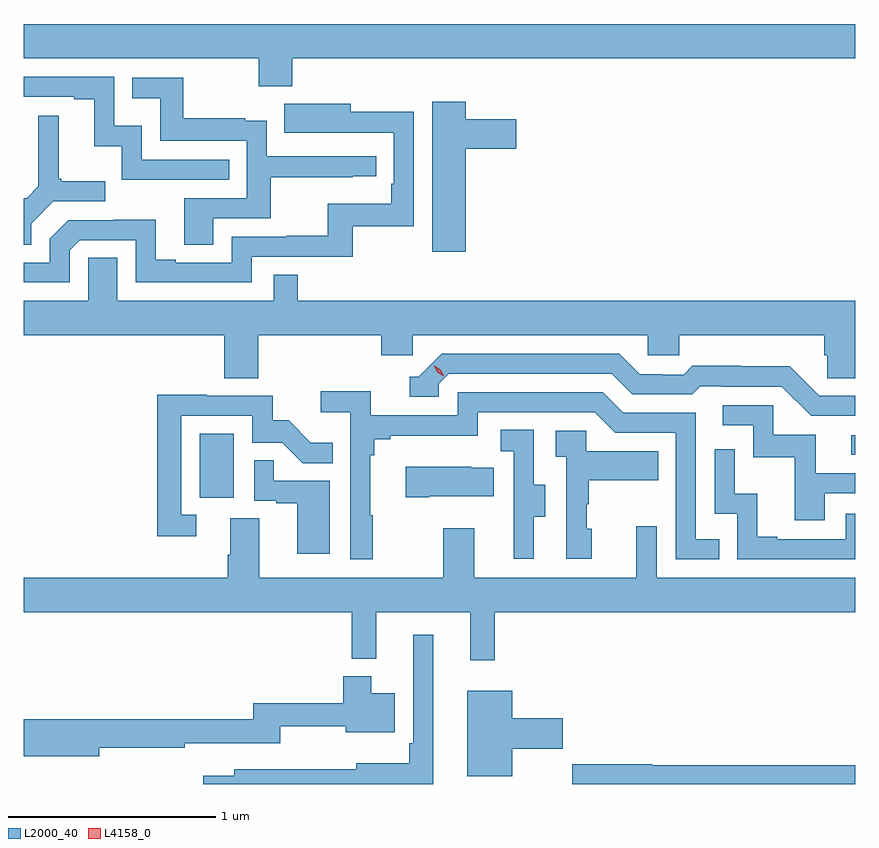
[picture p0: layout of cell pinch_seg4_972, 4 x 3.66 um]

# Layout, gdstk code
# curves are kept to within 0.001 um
import gdstk
lib = gdstk.Library(unit=1e-6, precision=1e-09)
def R(c, l, rs):  # rectangles x0, y0, x1, y1
    for r in rs: c.add(gdstk.rectangle(r[:2], r[2:], *l))
def P(c, l, *ps):  # polygons
    for p in ps: c.add(gdstk.Polygon(p, *l))
L2000_40 = (2000, 40)
L4158_0 = (4158, 0)

pinch_seg4_972 = lib.new_cell('pinch_seg4_972')
R(pinch_seg4_972, L2000_40, [(865.286,777.39,865.45,777.697), (868.419,777.597,868.439,777.69)])
P(pinch_seg4_972, L2000_40, [(865.73,779.504),(868.439,779.504),(868.439,779.668),(864.439,779.668),(864.439,779.504),(865.57,779.504),(865.57,779.369),(865.73,779.369)],
  [(865.427,779.016),(865.008,779.016),(865.008,779.179),(864.876,779.179),(864.876,779.415),(864.439,779.415),(864.439,779.319),(864.683,779.319),(864.683,779.307),(864.779,779.307),(864.779,779.081),(864.912,779.081),(864.912,778.92),(865.427,778.92)],
  [(865.351,778.734),(865.628,778.734),(865.628,778.93),(866.021,778.93),(866.021,778.935),(866.134,778.935),(866.134,779.031),(865.608,779.031),(865.608,779.203),(865.505,779.203),(865.505,779.215),(865.207,779.215),(865.207,779.409),(864.961,779.409),(864.961,779.312),(865.096,779.312),(865.096,779.106),(865.512,779.106),(865.512,778.83),(865.211,778.83),(865.211,778.606),(865.351,778.606)],
  [(866.566,779.069),(866.809,779.069),(866.809,779.211),(866.566,779.211),(866.566,779.293),(866.405,779.293),(866.405,778.572),(866.566,778.572)],
  [(864.66,778.581),(864.708,778.629),(864.978,778.629),(864.978,778.425),(865.536,778.425),(865.536,778.548),(866.023,778.548),(866.023,778.695),(866.316,778.695),(866.316,779.246),(866.011,779.246),(866.011,779.284),(865.693,779.284),(865.693,779.144),(866.22,779.145),(866.22,778.9),(866.207,778.9),(866.207,778.804),(865.902,778.804),(865.902,778.649),(865.705,778.649),(865.705,778.644),(865.44,778.644),(865.44,778.521),(865.171,778.521),(865.171,778.534),(865.075,778.534),(865.075,778.727),(864.87,778.727),(864.87,778.725),(864.654,778.725),(864.564,778.635),(864.564,778.521),(864.439,778.521),(864.439,778.425),(864.66,778.425)],
  [(864.475,778.708),(864.582,778.815),(864.832,778.815),(864.832,778.912),(864.619,778.912),(864.619,778.924),(864.607,778.924),(864.607,779.227),(864.51,779.227),(864.51,778.887),(864.453,778.83),(864.439,778.83),(864.439,778.606),(864.475,778.606)],
  [(865.568,778.172),(866.159,778.172),(866.159,778.074),(866.31,778.074),(866.31,778.172),(867.441,778.172),(867.441,778.074),(867.591,778.074),(867.591,778.172),(868.289,778.172),(868.289,778.074),(868.303,778.074),(868.303,777.964),(868.439,777.964),(868.439,778.336),(865.757,778.336),(865.757,778.463),(865.641,778.463),(865.641,778.336),(864.889,778.336),(864.889,778.544),(864.75,778.544),(864.75,778.336),(864.439,778.336),(864.439,778.172),(865.403,778.172),(865.403,777.964),(865.568,777.964)],
  [(868.439,777.879),(868.266,777.879),(868.124,778.021),(867.888,778.021),(867.888,778.024),(867.655,778.024),(867.613,777.981),(867.51,777.981),(867.51,777.984),(867.403,777.984),(867.304,778.083),(866.451,778.083),(866.34,777.972),(866.297,777.972),(866.297,777.876),(866.436,777.876),(866.436,777.939),(866.484,777.987),(867.267,777.987),(867.366,777.888),(867.655,777.888),(867.694,777.927),(867.793,777.927),(867.793,777.924),(868.086,777.924),(868.227,777.783),(868.439,777.783)],
  [(866.119,777.305),(866.107,777.305),(866.107,777.593),(866.126,777.593),(866.126,777.67),(866.203,777.67),(866.203,777.689),(866.622,777.689),(866.622,777.801),(867.186,777.801),(867.285,777.702),(867.576,777.702),(867.576,777.093),(867.785,777.093),(867.785,777.189),(867.672,777.189),(867.672,777.798),(867.322,777.798),(867.223,777.897),(866.526,777.897),(866.526,777.786),(866.108,777.786),(866.108,777.902),(865.869,777.902),(865.869,777.8),(866.01,777.8),(866.01,777.093),(866.119,777.093)],
  [(865.27,777.309),(865.197,777.309),(865.197,777.783),(865.539,777.783),(865.539,777.654),(865.683,777.654),(865.781,777.556),(865.925,777.556),(865.925,777.655),(865.821,777.655),(865.714,777.762),(865.638,777.762),(865.638,777.879),(865.319,777.879),(865.319,777.884),(865.081,777.884),(865.081,777.204),(865.27,777.204)],
  [(868.291,777.411),(868.439,777.411),(868.439,777.507),(868.249,777.507),(868.249,777.693),(868.044,777.693),(868.044,777.834),(867.801,777.834),(867.801,777.738),(867.948,777.738),(867.948,777.585),(868.147,777.585),(868.147,777.282),(868.291,777.282)],
  [(866.893,777.298),(866.947,777.298),(866.947,777.453),(866.892,777.453),(866.892,777.716),(866.733,777.716),(866.733,777.613),(866.796,777.613),(866.796,777.309),(866.795,777.309),(866.795,777.096),(866.893,777.096)],
  [(867.172,777.24),(867.147,777.24),(867.147,777.359),(867.157,777.359),(867.157,777.473),(867.491,777.473),(867.491,777.613),(867.144,777.613),(867.144,777.711),(866.997,777.711),(866.997,777.587),(867.048,777.587),(867.048,777.096),(867.172,777.096)],
  [(868.439,777.312),(868.392,777.312),(868.392,777.189),(868.063,777.189),(868.063,777.202),(867.968,777.202),(867.968,777.41),(867.858,777.41),(867.858,777.622),(867.762,777.622),(867.762,777.312),(867.87,777.312),(867.87,777.093),(868.439,777.093)],
  [(865.912,777.471),(865.643,777.471),(865.643,777.569),(865.548,777.569),(865.548,777.375),(865.655,777.375),(865.655,777.363),(865.754,777.363),(865.754,777.12),(865.912,777.12)],
  [(866.389,777.398),(866.699,777.398),(866.699,777.535),(866.591,777.535),(866.591,777.538),(866.277,777.538),(866.277,777.391),(866.389,777.391)],
  [(866.705,776.84),(868.439,776.84),(868.439,777.004),(867.483,777.004),(867.483,777.253),(867.386,777.253),(867.386,777.004),(866.605,777.004),(866.605,777.244),(866.458,777.244),(866.458,777.004),(865.573,777.004),(865.573,777.29),(865.433,777.29),(865.433,777.116),(865.421,777.116),(865.421,777.004),(864.439,777.004),(864.439,776.84),(866.017,776.84),(866.017,776.615),(866.135,776.615),(866.135,776.84),(866.588,776.84),(866.588,776.607),(866.705,776.607)],
  [(866.41,776.731),(866.313,776.731),(866.313,776.209),(866.293,776.209),(866.293,776.113),(866.039,776.113),(866.039,776.084),(865.451,776.084),(865.451,776.053),(865.302,776.053),(865.302,776.013),(866.41,776.013)],
  [(864.802,776.188),(865.214,776.188),(865.214,776.208),(865.672,776.208),(865.672,776.291),(865.988,776.291),(865.988,776.261),(866.224,776.261),(866.224,776.449),(866.11,776.449),(866.11,776.53),(865.976,776.53),(865.976,776.401),(865.543,776.401),(865.543,776.324),(864.439,776.324),(864.439,776.146),(864.802,776.146)],
  [(866.788,776.183),(867.031,776.183),(867.031,776.33),(866.788,776.33),(866.788,776.461),(866.573,776.461),(866.573,776.051),(866.788,776.051)],
  [(868.439,776.102),(867.462,776.102),(867.462,776.108),(867.078,776.108),(867.078,776.013),(868.439,776.013)])
P(pinch_seg4_972, L4158_0, [(866.46,777.973),(866.429,777.992),(866.413,778.025),(866.413,778.025),(866.413,778.025),(866.444,778.006),(866.46,777.973),(866.46,777.973)])

lib.write_gds('pinch_seg4_972.gds')
